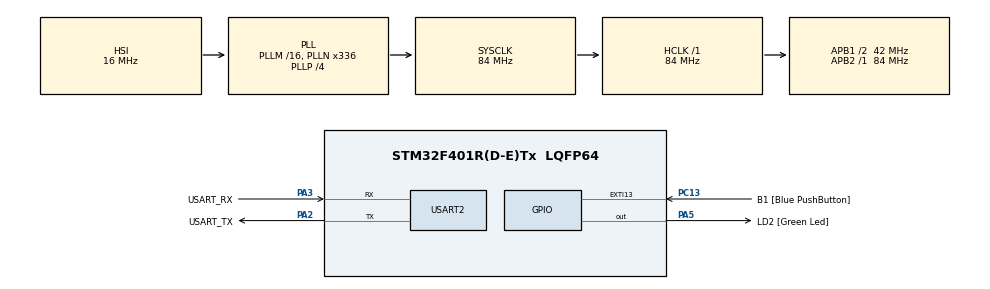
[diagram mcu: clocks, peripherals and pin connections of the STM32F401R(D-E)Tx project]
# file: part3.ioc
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Mcu.Family=STM32F4
Mcu.Name=STM32F401R(D-E)Tx
Mcu.Package=LQFP64
NVIC.PriorityGroup=NVIC_PRIORITYGROUP_4
NVIC.USART2_IRQn=true\:0\:0\:false\:false\:true\:true\:true\:true
PA2.GPIO_Label=USART_TX
PA2.GPIO_Mode=GPIO_MODE_AF_PP
PA2.GPIO_PuPd=GPIO_NOPULL
PA2.GPIO_Speed=GPIO_SPEED_FREQ_LOW
PA2.Mode=Asynchronous
PA2.Signal=USART2_TX
PA3.GPIO_Label=USART_RX
PA3.GPIO_Mode=GPIO_MODE_AF_PP
PA3.GPIO_PuPd=GPIO_NOPULL
PA3.GPIO_Speed=GPIO_SPEED_FREQ_LOW
PA3.Mode=Asynchronous
PA3.Signal=USART2_RX
PA5.GPIO_Label=LD2 [Green Led]
PA5.GPIO_Mode=GPIO_MODE_OUTPUT_PP
PA5.GPIO_PuPd=GPIO_NOPULL
PA5.GPIO_Speed=GPIO_SPEED_FREQ_LOW
PA5.Signal=GPIO_Output
PC13-ANTI_TAMP.GPIO_Label=B1 [Blue PushButton]
PC13-ANTI_TAMP.GPIO_ModeDefaultEXTI=GPIO_MODE_IT_FALLING
PC13-ANTI_TAMP.GPIO_PuPd=GPIO_NOPULL
PC13-ANTI_TAMP.Signal=GPXTI13
ProjectManager.HeapSize=0x200
ProjectManager.StackSize=0x400
ProjectManager.TargetToolchain=STM32CubeIDE
RCC.48MHZClocksFreq_Value=48000000
RCC.AHBFreq_Value=84000000
RCC.APB1CLKDivider=RCC_HCLK_DIV2
RCC.APB1Freq_Value=42000000
RCC.APB1TimFreq_Value=84000000
RCC.APB2Freq_Value=84000000
RCC.APB2TimFreq_Value=84000000
RCC.CortexFreq_Value=84000000
RCC.HCLKFreq_Value=84000000
RCC.HSE_VALUE=8000000
RCC.HSI_VALUE=16000000
RCC.PLLN=336
RCC.PLLP=RCC_PLLP_DIV4
RCC.PLLQ=7
RCC.SYSCLKFreq_VALUE=84000000
RCC.SYSCLKSource=RCC_SYSCLKSOURCE_PLLCLK
RCC.VCOOutputFreq_Value=336000000
USART2.VirtualMode=VM_ASYNC
board=NUCLEO-F401RE

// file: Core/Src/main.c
/* USER CODE BEGIN Header */
/**
 ******************************************************************************
 * @file           : main.c
 * @brief          : Main program body
 ******************************************************************************
 * @attention
 *
 * Copyright (c) 2025 STMicroelectronics.
 * All rights reserved.
 *
 * This software is licensed under terms that can be found in the LICENSE file
 * in the root directory of this software component.
 * If no LICENSE file comes with this software, it is provided AS-IS.
 *
 ******************************************************************************
 */
/* USER CODE END Header */
#include "main.h"

UART_HandleTypeDef huart2;

/* USER CODE BEGIN PV */

int volatile correctlySentData = 0;
int volatile correctlyReceivedData = 0;

/* USER CODE END PV */

void SystemClock_Config(void);
static void MX_GPIO_Init(void);
static void MX_USART2_UART_Init(void);

void displayMenu();

int main(void) {

	/* MCU Configuration--------------------------------------------------------*/

	/* Reset of all peripherals, Initializes the Flash interface and the Systick. */
	HAL_Init();

	/* Configure the system clock */
	SystemClock_Config();

	/* Initialize all configured peripherals */
	MX_GPIO_Init();
	MX_USART2_UART_Init();

	/* Infinite loop */
	/* USER CODE BEGIN WHILE */
	displayMenu();

	uint8_t character[2]; // Pointer to received data
	HAL_UART_Receive_IT(&huart2, character, 1);

	while (1) {
		// Check TX flag
		if (correctlySentData == 1) {
			correctlySentData = 0;
		}

		// Check RX flag
		if (correctlyReceivedData == 1) {
			correctlyReceivedData = 0;

			switch (character[0]) {
			case '1':
				HAL_GPIO_TogglePin(GPIOA, GPIO_PIN_5);
				break;
			case '2':
				int button_pressed = !HAL_GPIO_ReadPin(GPIOC, GPIO_PIN_13);
				if (button_pressed) {
					static const char MSG_PRESSED[] = "Button PRESSED\n";
					HAL_UART_Transmit_IT(&huart2, (uint8_t*) MSG_PRESSED, sizeof(MSG_PRESSED)/sizeof(*MSG_PRESSED) - 1);
				} else {
					static const char MSG_RELEASED[] = "Button RELEASED\n";
					HAL_UART_Transmit_IT(&huart2, (uint8_t*) MSG_RELEASED, sizeof(MSG_RELEASED)/sizeof(*MSG_RELEASED) - 1);
				}
				break;
			case '3':
				displayMenu();
				break;
			default:
				static const char MSG_ERROR[] = "Premere 1, 2, o 3 !!!1!!\n";
				HAL_UART_Transmit_IT(&huart2, (uint8_t*) MSG_ERROR, sizeof(MSG_ERROR)/sizeof(*MSG_ERROR) - 1);
			}

			HAL_UART_Receive_IT(&huart2, character, 1);
		}
		/* USER CODE END WHILE */

	}
}

void SystemClock_Config(void) {
	RCC_OscInitTypeDef RCC_OscInitStruct = { 0 };
	RCC_ClkInitTypeDef RCC_ClkInitStruct = { 0 };

	/** Configure the main internal regulator output voltage
	 */
	__HAL_RCC_PWR_CLK_ENABLE();
	__HAL_PWR_VOLTAGESCALING_CONFIG(PWR_REGULATOR_VOLTAGE_SCALE2);

	/** Initializes the RCC Oscillators according to the specified parameters
	 * in the RCC_OscInitTypeDef structure.
	 */
	RCC_OscInitStruct.OscillatorType = RCC_OSCILLATORTYPE_HSI;
	RCC_OscInitStruct.HSIState = RCC_HSI_ON;
	RCC_OscInitStruct.HSICalibrationValue = RCC_HSICALIBRATION_DEFAULT;
	RCC_OscInitStruct.PLL.PLLState = RCC_PLL_ON;
	RCC_OscInitStruct.PLL.PLLSource = RCC_PLLSOURCE_HSI;
	RCC_OscInitStruct.PLL.PLLM = 16;
	RCC_OscInitStruct.PLL.PLLN = 336;
	RCC_OscInitStruct.PLL.PLLP = RCC_PLLP_DIV4;
	RCC_OscInitStruct.PLL.PLLQ = 7;
	if (HAL_RCC_OscConfig(&RCC_OscInitStruct) != HAL_OK) {
		Error_Handler();
	}

	/** Initializes the CPU, AHB and APB buses clocks
	 */
	RCC_ClkInitStruct.ClockType = RCC_CLOCKTYPE_HCLK | RCC_CLOCKTYPE_SYSCLK
			| RCC_CLOCKTYPE_PCLK1 | RCC_CLOCKTYPE_PCLK2;
	RCC_ClkInitStruct.SYSCLKSource = RCC_SYSCLKSOURCE_PLLCLK;
	RCC_ClkInitStruct.AHBCLKDivider = RCC_SYSCLK_DIV1;
	RCC_ClkInitStruct.APB1CLKDivider = RCC_HCLK_DIV2;
	RCC_ClkInitStruct.APB2CLKDivider = RCC_HCLK_DIV1;

	if (HAL_RCC_ClockConfig(&RCC_ClkInitStruct, FLASH_LATENCY_2) != HAL_OK) {
		Error_Handler();
	}
}

static void MX_USART2_UART_Init(void) {

	huart2.Instance = USART2;
	huart2.Init.BaudRate = 115200;
	huart2.Init.WordLength = UART_WORDLENGTH_8B;
	huart2.Init.StopBits = UART_STOPBITS_1;
	huart2.Init.Parity = UART_PARITY_NONE;
	huart2.Init.Mode = UART_MODE_TX_RX;
	huart2.Init.HwFlowCtl = UART_HWCONTROL_NONE;
	huart2.Init.OverSampling = UART_OVERSAMPLING_16;
	if (HAL_UART_Init(&huart2) != HAL_OK) {
		Error_Handler();
	}

}

static void MX_GPIO_Init(void) {
	GPIO_InitTypeDef GPIO_InitStruct = { 0 };

	/* GPIO Ports Clock Enable */
	__HAL_RCC_GPIOC_CLK_ENABLE();
	__HAL_RCC_GPIOA_CLK_ENABLE();

	/*Configure GPIO pin Output Level */
	HAL_GPIO_WritePin(LD2_GPIO_Port, LD2_Pin, GPIO_PIN_RESET);

	/*Configure GPIO pin : B1_Pin */
	GPIO_InitStruct.Pin = B1_Pin;
	GPIO_InitStruct.Mode = GPIO_MODE_IT_FALLING;
	GPIO_InitStruct.Pull = GPIO_NOPULL;
	HAL_GPIO_Init(B1_GPIO_Port, &GPIO_InitStruct);

	/*Configure GPIO pin : LD2_Pin */
	GPIO_InitStruct.Pin = LD2_Pin;
	GPIO_InitStruct.Mode = GPIO_MODE_OUTPUT_PP;
	GPIO_InitStruct.Pull = GPIO_NOPULL;
	GPIO_InitStruct.Speed = GPIO_SPEED_FREQ_LOW;
	HAL_GPIO_Init(LD2_GPIO_Port, &GPIO_InitStruct);

}

/* USER CODE BEGIN 4 */

void displayMenu() {
	static const char MSG[] = "Benvenuti nel menu dei fiesdlers!!1!\nScrivere 1, 2 o 3... o 4 se hai il coraggio...\n";
	HAL_UART_Transmit_IT(&huart2, (uint8_t*) MSG, sizeof(MSG) / sizeof(*MSG) - 1);
}

void HAL_UART_RxCpltCallback(UART_HandleTypeDef *huart) {
	// insert your code
	correctlyReceivedData = 1;
}
void HAL_UART_TxCpltCallback(UART_HandleTypeDef *huart) {
	// insert your code
	correctlySentData = 1;
}

/* USER CODE END 4 */

void Error_Handler(void) {
	__disable_irq();
	while (1) {
	}
}
